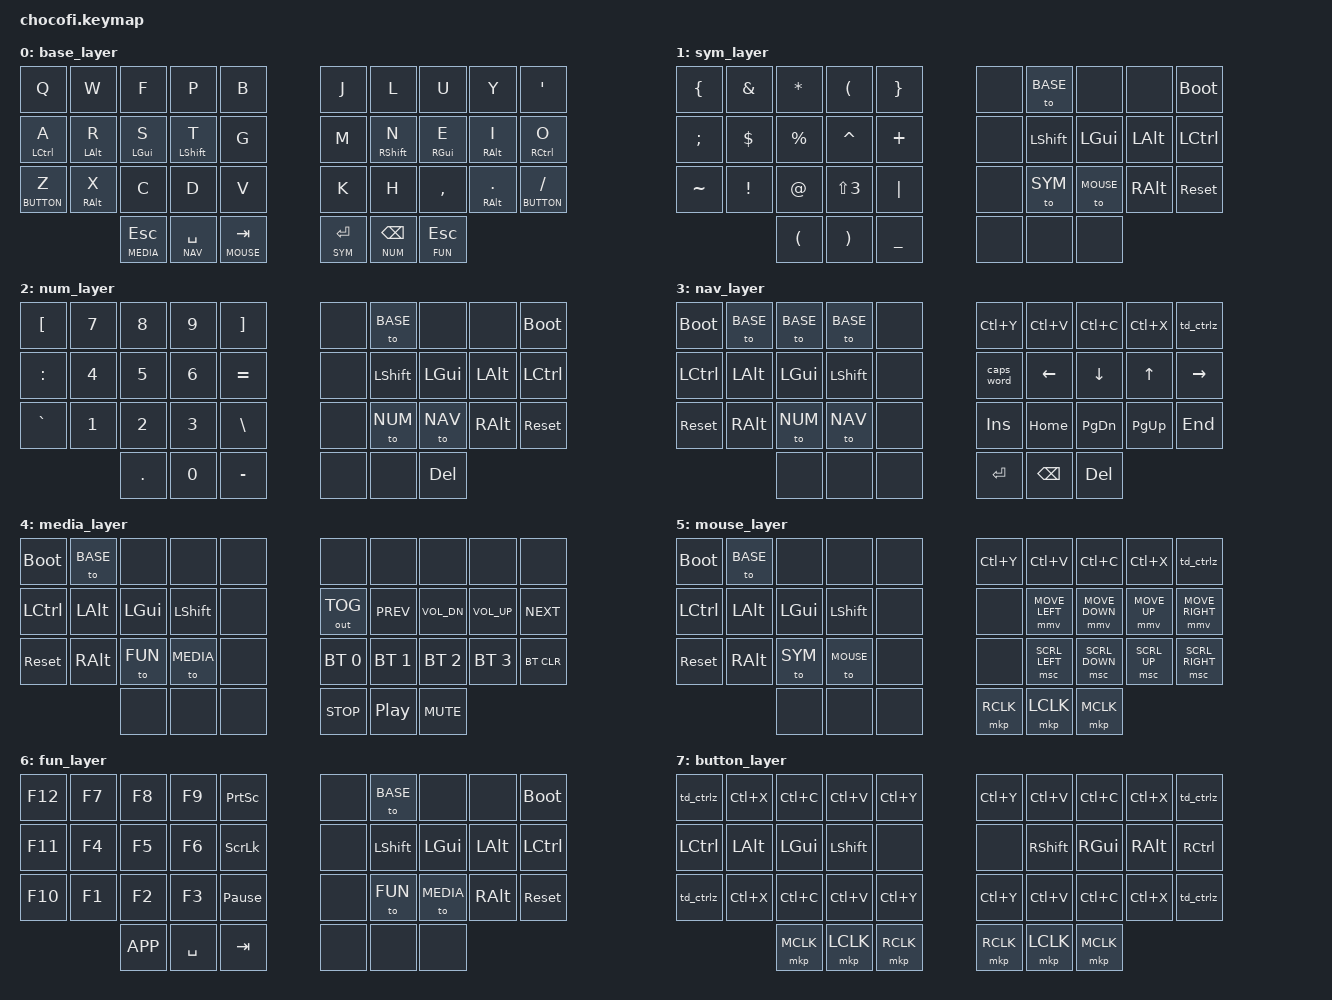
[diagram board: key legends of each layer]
/*
 * Copyright (c) 2025 Will Napier
 *
 * SPDX-License-Identifier: MIT  
 * British Pound (£) on SYM+D, Hash (#) on Right-Alt+3
 */

#include <behaviors.dtsi>
#include <dt-bindings/zmk/keys.h>
#include <dt-bindings/zmk/bt.h>
#include <dt-bindings/zmk/outputs.h>
#include <dt-bindings/zmk/pointing.h>

// Set maximum mouse velocity
#define ZMK_POINTING_DEFAULT_MOVE_VAL 1200

// Layer definitions
#define BASE 0
#define SYM 1
#define NUM 2
#define NAV 3
#define MEDIA 4
#define MOUSE 5
#define FUN 6
#define BUTTON 7

// Miryoku timeless HRM settings
#define QUICK_TAP_MS 175

&mt {
    flavor = "balanced";
    tapping-term-ms = <280>;
    quick-tap-ms = <QUICK_TAP_MS>;
    require-prior-idle-ms = <150>;
    hold-trigger-on-release;
};

/ {
    behaviors {
        td_ctrlz: tap_dance {
            compatible = "zmk,behavior-tap-dance";
            label = "TAP_DANCE_CTRL_Z";
            #binding-cells = <0>;
            tapping-term-ms = <200>;
            bindings = <&none>, <&kp LC(Z)>;
        };
    };
};

// Configure acceleration behavior (Urob-style)
&mmv {
    acceleration-exponent = <1>;
    time-to-max-speed-ms = <60>;
    delay-ms = <0>;
};

/ {
    keymap {
        compatible = "zmk,keymap";

        base_layer {
            bindings = <
                &kp Q           &kp W           &kp F           &kp P           &kp B           &kp J           &kp L           &kp U           &kp Y           &kp SQT
                &mt LCTRL A     &mt LALT R      &mt LGUI S      &mt LSHFT T     &kp G           &kp M           &mt RSHFT N     &mt RGUI E      &mt RALT I      &mt RCTRL O
                &lt BUTTON Z    &mt RALT X      &kp C           &kp D           &kp V           &kp K           &kp H           &kp COMMA       &mt RALT DOT    &lt BUTTON FSLH
                                                &lt MEDIA ESC   &lt NAV SPACE   &lt MOUSE TAB   &lt SYM RET     &lt NUM BSPC    &lt FUN ESC
            >;
        };

        sym_layer {
            bindings = <
                &kp LBRC        &kp AMPS        &kp ASTRK       &kp LPAR        &kp RBRC        &none           &to BASE        &none           &none           &bootloader
                &kp SEMI        &kp DLLR        &kp PRCNT       &kp CARET       &kp PLUS        &none           &kp LSHFT       &kp LGUI        &kp LALT        &kp LCTRL
                &kp TILDE       &kp EXCL        &kp AT          &kp LS(N3)      &kp PIPE        &none           &to SYM         &to MOUSE       &kp RALT        &sys_reset
                                                &kp LPAR        &kp RPAR        &kp UNDER       &none           &none           &none
            >;
        };

        num_layer {
            bindings = <
                &kp LBKT        &kp N7          &kp N8          &kp N9          &kp RBKT        &none           &to BASE        &none           &none           &bootloader
                &kp COLON       &kp N4          &kp N5          &kp N6          &kp EQUAL       &none           &kp LSHFT       &kp LGUI        &kp LALT        &kp LCTRL
                &kp GRAVE       &kp N1          &kp N2          &kp N3          &kp BSLH        &none           &to NUM         &to NAV         &kp RALT        &sys_reset
                                                &kp DOT         &kp N0          &kp MINUS       &none           &none           &kp DEL
            >;
        };

        nav_layer {
            bindings = <
                &bootloader     &to BASE        &to BASE        &to BASE        &none           &kp LC(Y)       &kp LC(V)       &kp LC(C)       &kp LC(X)       &td_ctrlz
                &kp LCTRL       &kp LALT        &kp LGUI        &kp LSHFT       &none           &caps_word      &kp LEFT        &kp DOWN        &kp UP          &kp RIGHT
                &sys_reset      &kp RALT        &to NUM         &to NAV         &none           &kp INS         &kp HOME        &kp PG_DN       &kp PG_UP       &kp END
                                                &none           &none           &none           &kp RET         &kp BSPC        &kp DEL
             >;
        };

        media_layer {
            bindings = <
                &bootloader     &to BASE        &none           &none           &none           &none           &none           &none           &none           &none
                &kp LCTRL       &kp LALT        &kp LGUI        &kp LSHFT       &none           &out OUT_TOG    &kp C_PREV      &kp C_VOL_DN    &kp C_VOL_UP    &kp C_NEXT
                &sys_reset      &kp RALT        &to FUN         &to MEDIA       &none           &bt BT_SEL 0    &bt BT_SEL 1    &bt BT_SEL 2    &bt BT_SEL 3    &bt BT_CLR
                                                &none           &none           &none           &kp C_STOP      &kp C_PP        &kp C_MUTE
            >;
        };

        mouse_layer {
            bindings = <
                &bootloader     &to BASE        &none           &none           &none           &kp LC(Y)       &kp LC(V)       &kp LC(C)       &kp LC(X)       &td_ctrlz
                &kp LCTRL       &kp LALT        &kp LGUI        &kp LSHFT       &none           &none           &mmv MOVE_LEFT  &mmv MOVE_DOWN  &mmv MOVE_UP    &mmv MOVE_RIGHT
                &sys_reset      &kp RALT        &to SYM         &to MOUSE       &none           &none           &msc SCRL_LEFT  &msc SCRL_DOWN  &msc SCRL_UP    &msc SCRL_RIGHT
                                                &none           &none           &none           &mkp RCLK       &mkp LCLK       &mkp MCLK
            >;
        };

        fun_layer {
            bindings = <
                &kp F12         &kp F7          &kp F8          &kp F9          &kp PSCRN       &none           &to BASE        &none           &none           &bootloader
                &kp F11         &kp F4          &kp F5          &kp F6          &kp SLCK        &none           &kp LSHFT       &kp LGUI        &kp LALT        &kp LCTRL
                &kp F10         &kp F1          &kp F2          &kp F3          &kp PAUSE_BREAK &none           &to FUN         &to MEDIA       &kp RALT        &sys_reset
                                                &kp K_APP       &kp SPACE       &kp TAB         &none           &none           &none
            >;
        };

        button_layer {
            bindings = <
                &td_ctrlz       &kp LC(X)       &kp LC(C)       &kp LC(V)       &kp LC(Y)       &kp LC(Y)       &kp LC(V)       &kp LC(C)       &kp LC(X)       &td_ctrlz
                &kp LCTRL       &kp LALT        &kp LGUI        &kp LSHFT       &none           &none           &kp RSHFT       &kp RGUI        &kp RALT        &kp RCTRL
                &td_ctrlz       &kp LC(X)       &kp LC(C)       &kp LC(V)       &kp LC(Y)       &kp LC(Y)       &kp LC(V)       &kp LC(C)       &kp LC(X)       &td_ctrlz
                                                &mkp MCLK       &mkp LCLK       &mkp RCLK       &mkp RCLK       &mkp LCLK       &mkp MCLK
            >;
        };
    };
};
